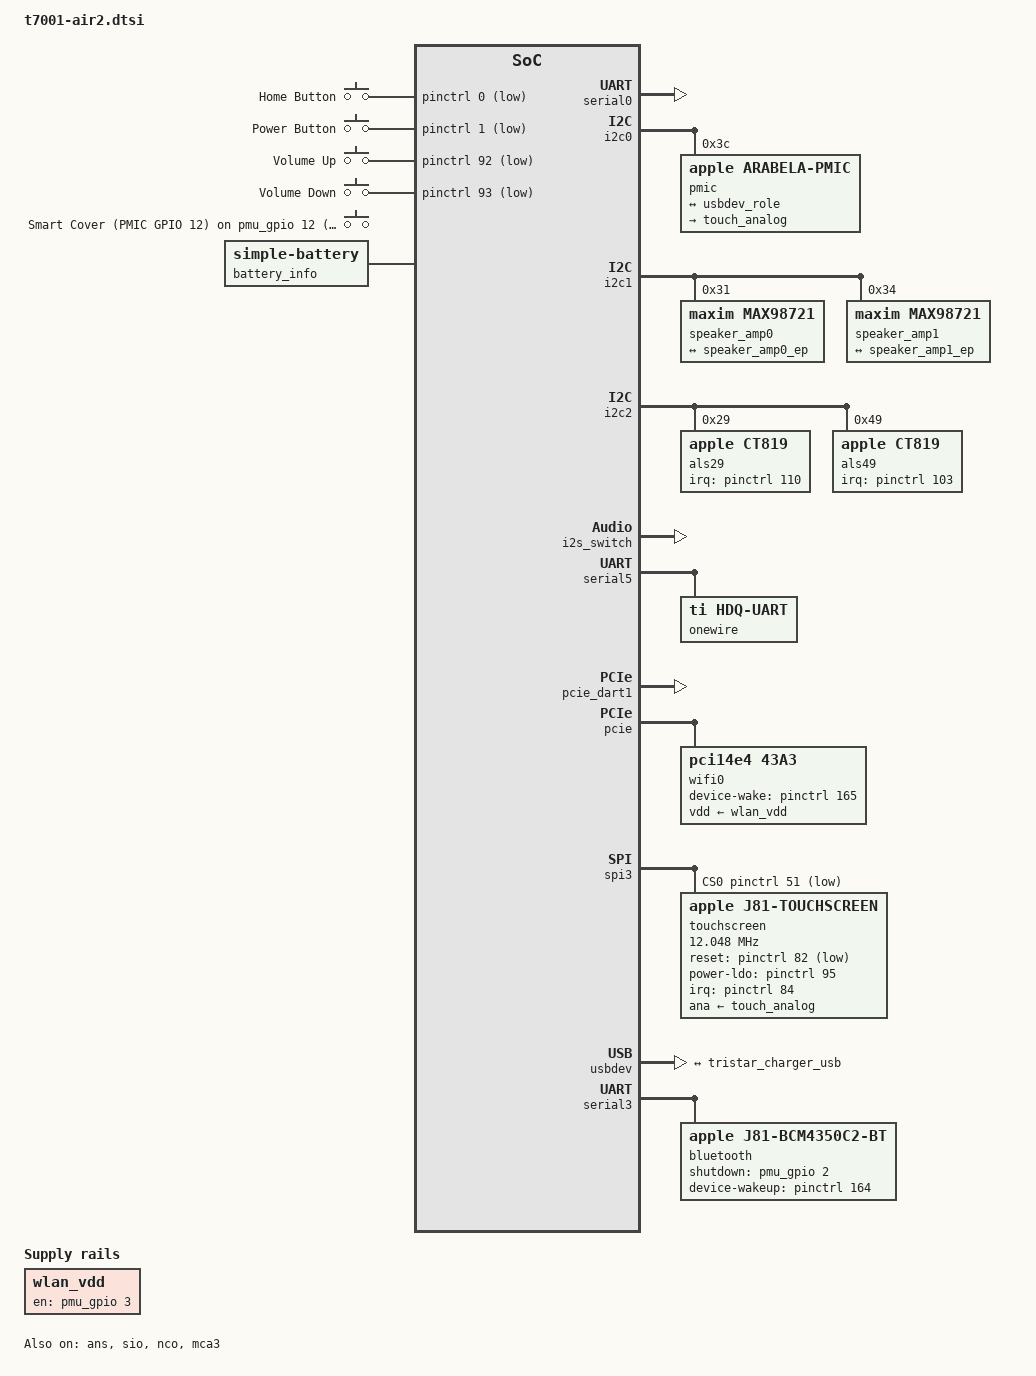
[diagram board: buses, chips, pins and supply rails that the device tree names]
// SPDX-License-Identifier: GPL-2.0+ OR MIT
/*
 * Apple iPad Air 2 common device tree
 * Copyright (c) 2022, Konrad Dybcio <konradybcio@kernel.org>
 */

#include "t7001.dtsi"
#include <dt-bindings/input/input.h>

/ {
	chassis-type = "tablet";

	aliases {
		als0 = &als49;	/* the loader copies the ADT's alsCalibration here */
		als1 = &als29;	/* the same record, for the sensor at 0x29 */
		bluetooth0 = &bluetooth;
		serial3 = &serial3;
		touchscreen0 = &touchscreen;
		wifi0 = &wifi0;
	};

	chosen {
		#address-cells = <2>;
		#size-cells = <2>;
		ranges;

		stdout-path = "serial0";

		framebuffer0: framebuffer@0 {
			compatible = "apple,simple-framebuffer", "simple-framebuffer";
			reg = <0 0 0 0>; /* To be filled by loader */
			power-domains = <&ps_disp0 &ps_dp>;
			/* Format properties will be added by loader */
			status = "disabled";
		};
	};

	gpio-keys {
		compatible = "gpio-keys";

		button-home {
			label = "Home Button";
			gpios = <&pinctrl 0 GPIO_ACTIVE_LOW>;
			linux,code = <KEY_HOMEPAGE>;
			wakeup-source;
		};

		button-power {
			label = "Power Button";
			gpios = <&pinctrl 1 GPIO_ACTIVE_LOW>;
			linux,code = <KEY_POWER>;
			wakeup-source;
		};

		button-volup {
			label = "Volume Up";
			gpios = <&pinctrl 92 GPIO_ACTIVE_LOW>;
			linux,code = <KEY_VOLUMEUP>;
		};

		button-voldown {
			label = "Volume Down";
			gpios = <&pinctrl 93 GPIO_ACTIVE_LOW>;
			linux,code = <KEY_VOLUMEDOWN>;
		};
	};

	/*
	 * Smart Cover hall sensors: PMIC GPIO 12 ("halleffect") and 10
	 * ("halleffect1") in the ADT /buttons node, with the same flags as on
	 * the iPad 6, where both read low while the cover is closed. Reported
	 * as SW_MACHINE_COVER, not as a lid switch, so that closing the cover
	 * doesn't suspend the system. Each line is its own device, so that
	 * one the PMIC keeps for itself can't take the other down.
	 */
	smart-cover {
		compatible = "gpio-keys-polled";
		poll-interval = <50>;
		label = "iPad Smart Cover";

		cover-switch {
			label = "Smart Cover (PMIC GPIO 12)";
			gpios = <&pmu_gpio 12 GPIO_ACTIVE_LOW>;
			linux,input-type = <EV_SW>;
			linux,code = <SW_MACHINE_COVER>;
			debounce-interval = <50>;
		};
	};

	memory@800000000 {
		device_type = "memory";
		reg = <0x8 0 0 0>; /* To be filled by loader */
	};

	reserved-memory {
		#address-cells = <2>;
		#size-cells = <2>;
		ranges;

		ans_firmware: ans-firmware {
			/* Filled in by the loader. */
			reg = <0 0 0 0>;
			no-map;
		};
	};

	battery_info: battery {
		compatible = "simple-battery";
		charge-full-design-microamp-hours = <7340000>;
	};

	/* Wi-Fi REG_ON is D2207 GPIO 3. */
	wlan_vdd: regulator-wlan-vdd {
		compatible = "regulator-fixed";
		regulator-name = "wlan-vdd";
		gpio = <&pmu_gpio 3 GPIO_ACTIVE_HIGH>;
		enable-active-high;
		off-on-delay-us = <100000>;
	};
};

&ans {
	memory-region = <&ans_firmware>;
	memory-region-names = "firmware";
	status = "okay";
};

&serial0 {
	status = "okay";
};

&i2c0 {
	status = "okay";

	/* The Lightning port controller, from the ADT i2c0/tristar node. */
	tristar: port-controller@1a {
		compatible = "nxp,cbtl1610";
		reg = <0x1a>;
	};

	pmic@3c {
		compatible = "apple,arabela-pmic", "apple,i2c-pmic";
		reg = <0x3c>;
		#address-cells = <1>;
		#size-cells = <1>;

		touch_analog: regulator-touch-analog {
			compatible = "apple,d2207-touch-analog-regulator";
			regulator-name = "touch-analog";
		};

		pmu_gpio: gpio {
			compatible = "apple,d2207-pmic-gpio";
			gpio-controller;
			#gpio-cells = <2>;
			/* Only Bluetooth (2) and Wi-Fi (3) REG_ON are used; the other lines stay as iBoot left them. */
			gpio-reserved-ranges = <0 2>, <4 6>, <11 1>, <13 8>;
			/* Lines 10 and 12 are the Smart Cover hall sensors. */
			interrupt-controller;
			#interrupt-cells = <2>;
			interrupts-extended = <&pinctrl 86 IRQ_TYPE_LEVEL_LOW>;
			/* Smart Cover front hall sensor (line 12): wake only. */
			apple,wake-events = <0x24>;
		};

		/*
		 * Lightning charging, at the D2207's registers as iOS 15.8
		 * AppleD2207PMU uses them: connection and charger state at
		 * 0x60, the input-current limit at 0x4c0, the ADC at 0x500.
		 * The ADT's charger node allows 0x960 = 2400 mA of input.
		 */
		tristar_charger: charger@60 {
			compatible = "apple,j81-tristar-charger", "apple,d2207-tristar-charger";
			reg = <0x60 0x0d>, <0x4c0 0x01>, <0x500 0x04>;
			reg-names = "status", "control", "adc";
			interrupt-parent = <&pmu_gpio>;
			/*
			 * The PMU line and ADC done. No source events: the plug
			 * event (0) stays unmasked across a reset that bypasses
			 * iBoot (DFU entered from Linux), latches on the replugs
			 * of the next boot and froze that boot. The charger's
			 * 100 ms poll of 0x60 sees plug and unplug.
			 */
			interrupts = <112 IRQ_TYPE_EDGE_RISING>,
				     <89 IRQ_TYPE_EDGE_RISING>;
			apple,tristar = <&tristar>;
			input-current-limit-microamp = <2400000>;

			/* The charger decides when USB data may come on. */
			port {
				tristar_charger_usb: endpoint {
					remote-endpoint = <&usbdev_role>;
				};
			};
		};

		rtc@5c0 {
			compatible = "apple,arabela-pmic-rtc", "apple,amber-pmic-rtc";
			reg = <0x5c0 0x10>;
			nvmem-cells = <&rtc_offset>;
			nvmem-cell-names = "rtc_offset";
		};

		backlight@600 {
			compatible = "apple,arabela-pmic-bl", "apple,anya-pmic-bl";
			reg = <0x600 0x2>;
		};

		nvmem@4000 {
			compatible = "apple,pmic-nvmem";
			reg = <0x4000 0x28>;

			nvmem-layout {
				compatible = "fixed-layout";
				#address-cells = <1>;
				#size-cells = <1>;

				rtc_offset: rtc-offset@4 {
					reg = <0x4 0x4>;
				};
			};
		};
	};
};

/*
 * The two speaker amplifiers, fed by MCA3 in TDM slots 0 (0x31) and 1
 * (0x34); both read revision 0x80 on a J81. Their driver holds them off
 * until a sound card runs a stream through them. Their interrupts (GPIO 8
 * and 9) and the 0x31 amplifier's "function-alive" GPIO 101 are not
 * described yet.
 */
&i2c1 {
	status = "okay";

	speaker_amp0: amplifier@31 {
		compatible = "maxim,max98721";
		reg = <0x31>;
		#sound-dai-cells = <0>;
		sound-name-prefix = "Left";

		port {
			amp0_ep: endpoint {
				remote-endpoint = <&speaker_amp0_ep>;
				dai-tdm-slot-num = <8>;
				dai-tdm-slot-width = <16>;
				dai-tdm-slot-rx-mask = <1>;		/* slot 0 */
			};
		};
	};

	speaker_amp1: amplifier@34 {
		compatible = "maxim,max98721";
		reg = <0x34>;
		#sound-dai-cells = <0>;
		sound-name-prefix = "Right";

		port {
			amp1_ep: endpoint {
				remote-endpoint = <&speaker_amp1_ep>;
				dai-tdm-slot-num = <8>;
				dai-tdm-slot-width = <16>;
				dai-tdm-slot-rx-mask = <0 1>;		/* slot 1 */
			};
		};
	};
};

/*
 * The ambient light sensor: a CT819 on i2c2. The device trees of the J81
 * and J82 list it twice, as i2c2/als1 at 0x49 (interrupt GPIO 103) and
 * i2c2/als2 at 0x29 (interrupt GPIO 110), both "probe-for-hardware": iOS
 * uses the one that answers. Both are described; the absent one fails its
 * chip ID read. Both name the unit's SysCfg LSCI record as alsCalibration,
 * which the loader copies into each through the als0 and als1 aliases.
 * i2c2 has nothing else on it.
 */
&i2c2 {
	status = "okay";

	/* m1n1 adds apple,als-calibration from the ADT */
	als29: light-sensor@29 {
		compatible = "apple,ct819", "amstaos,tsl2581";
		reg = <0x29>;
		interrupts-extended = <&pinctrl 110 IRQ_TYPE_LEVEL_LOW>;
	};

	/* m1n1 adds apple,als-calibration from the ADT */
	als49: light-sensor@49 {
		compatible = "apple,ct819", "amstaos,tsl2581";
		reg = <0x49>;
		interrupts-extended = <&pinctrl 103 IRQ_TYPE_LEVEL_LOW>;
	};
};

/* SmartIO: the DMA engine of every MCA and of spi1 */
&sio {
	status = "okay";
};

/*
 * The NCO reference as iBoot reports it in a running J81's ADT
 * (/arm-io clock-frequencies[10], the NCO's first clock-id 0x10a):
 * 2.4 GHz / 7. iOS special-cases this rate for its divider precision.
 */
&nco_clkref {
	clock-frequency = <342857142>;
};

&nco {
	status = "okay";
};

&i2s_switch {
	status = "okay";
};

/* The speaker link: MCA3 to pad 3 (ADT function-i2s_route aud3 -> pin3) */
&mca3 {
	apple,i2s-switch = <&i2s_switch 3 3>;
	status = "okay";

	mca3_port: port {
		mca3_ep: endpoint {
			remote-endpoint = <&speakers_cpu_ep>;
			format = "dsp_a";
			bitclock-master;
			frame-master;
		};
	};
};

/*
 * The speakers: MCA3 playing to both amplifiers on one TDM link
 * (audio-graph-card2 "semi-multi", one CPU to two codecs). Channel 0 is
 * slot 0 (amplifier 0x31, the left speaker in portrait), channel 1 slot 1
 * (0x34, the right speaker).
 */
/ {
	sound-speakers {
		compatible = "audio-graph-card2";
		label = "J81 Speakers";
		links = <&mca3_port>;

		multi {
			#address-cells = <1>;
			#size-cells = <0>;

			ports@0 {
				reg = <0>;
				#address-cells = <1>;
				#size-cells = <0>;

				port@0 {
					reg = <0>;
					speakers_cpu_ep: endpoint {
						remote-endpoint = <&mca3_ep>;
					};
				};

				port@1 {
					reg = <1>;
					speaker_amp0_ep: endpoint {
						remote-endpoint = <&amp0_ep>;
					};
				};

				port@2 {
					reg = <2>;
					speaker_amp1_ep: endpoint {
						remote-endpoint = <&amp1_ep>;
					};
				};
			};
		};
	};
};

&serial5 {
	pinctrl-0 = <&uart5_pins>;
	pinctrl-names = "default";
	status = "okay";

	onewire {
		compatible = "ti,hdq-uart";

		battery: fuel-gauge {
			compatible = "ti,bq27545-hdq";
			monitored-battery = <&battery_info>;
		};
	};
};

&pcie_dart1 {
	status = "okay";
};

&pcie {
	iommu-map = <0x100 &pcie_dart1 0 0x0 0x80000000 0x0 0x3ffff000 1>;
	iommu-map-mask = <0xff00>;
	status = "okay";

	pci@1,0 {
		device_type = "pci";
		reg = <0x800 0x0 0x0 0x0 0x0>;
		bus-range = <1 1>;
		reset-gpios = <&pinctrl 179 GPIO_ACTIVE_LOW>;
		max-link-speed = <1>;
		#address-cells = <3>;
		#size-cells = <2>;
		ranges;

		wifi0: wifi@0,0 {
			compatible = "pci14e4,43a3";
			reg = <0x10000 0x0 0x0 0x0 0x0>;
			device-wake-gpios = <&pinctrl 165 GPIO_ACTIVE_HIGH>;
			vdd-supply = <&wlan_vdd>;
			brcm,ccode-map-trivial;
		};
	};
};

/*
 * The N1 touchscreen, from the ADT spi3/multi-touch functions: chip select
 * GPIO 51, reset GPIO 82, interrupt GPIO 84, LDO enable GPIO 95, analog
 * supply pmuL(0x20e) and the PMGR touch clock at 32768 Hz. Its display
 * sync (GPIO 55) stays an input, as in iOS.
 */
&spi3 {
	cs-gpios = <&pinctrl 51 GPIO_ACTIVE_LOW>;
	status = "okay";

	touchscreen: touchscreen@0 {
		compatible = "apple,j81-touchscreen";
		reg = <0>;
		/* N1 selects 83 ns; the controller rounds up to divider 5 */
		spi-max-frequency = <12048192>;
		interrupts-extended = <&pinctrl 84 IRQ_TYPE_EDGE_FALLING>;
		reset-gpios = <&pinctrl 82 GPIO_ACTIVE_LOW>;
		power-ldo-gpios = <&pinctrl 95 GPIO_ACTIVE_HIGH>;
		ana-supply = <&touch_analog>;
		clocks = <&touchclk>;
		touchscreen-size-x = <1536>;
		touchscreen-size-y = <2048>;
		/* As the iPad 5's C1F15 sensor; unconfirmed on the Air 2 */
		touchscreen-inverted-y;
	};
};

&touchclk {
	status = "okay";
};

/* Tell the Lightning charger what the USB host allows. */
&usbdev {
	usb-psy-name = "lightning";
	usb-role-switch;

	port {
		usbdev_role: endpoint {
			remote-endpoint = <&tristar_charger_usb>;
		};
	};
};

/*
 * The BCM4350C2's Bluetooth on UART3, from the ADT uart3/bluetooth node:
 * power enable on D2207 GPIO 2, BT_WAKE on GPIO 164. m1n1 adds the device
 * address. The controller starts at 115,200 baud; the driver then switches
 * the link to 3 Mbit/s, the ADT's transport-speed. At 115,200 baud, A2DP
 * audio crackles, and an HFP call's SCO audio (64 kbit/s each way) does not
 * fit.
 */
&serial3 {
	pinctrl-0 = <&uart3_pins>;
	pinctrl-names = "default";
	uart-has-rtscts;
	status = "okay";

	bluetooth: bluetooth {
		compatible = "apple,j81-bcm4350c2-bt";
		current-speed = <115200>;
		max-speed = <3000000>;
		shutdown-gpios = <&pmu_gpio 2 GPIO_ACTIVE_HIGH>;
		device-wakeup-gpios = <&pinctrl 164 GPIO_ACTIVE_HIGH>;
	};
};
